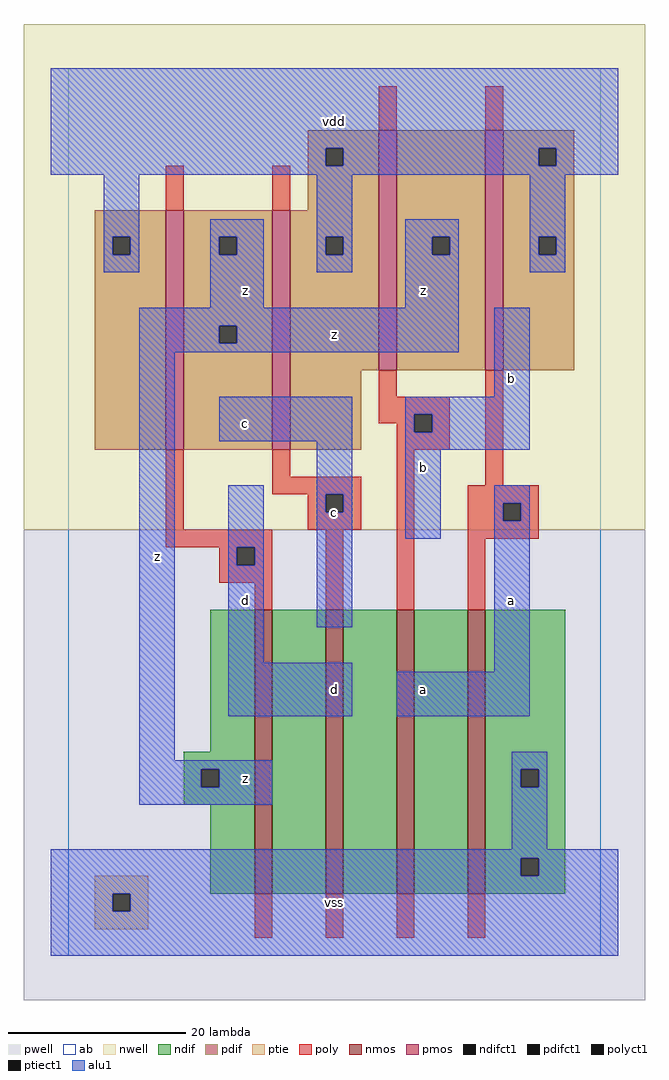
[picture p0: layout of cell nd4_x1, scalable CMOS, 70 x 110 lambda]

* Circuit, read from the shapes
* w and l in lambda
.subckt nd4_x1 a b c d vdd vss z
M1 n1 d z vss nfet w=32 l=2
M2 n2 c n1 vss nfet w=32 l=2
M3 n3 b n2 vss nfet w=32 l=2
M4 vss a n3 vss nfet w=32 l=2
M5 z d vdd n4 pfet w=27 l=2
M6 vdd c z n4 pfet w=27 l=2
M7 z b vdd n4 pfet w=27 l=2
M8 vdd a z n4 pfet w=27 l=2
.ends

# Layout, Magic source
magic
tech scmos
<< ab >>
rect 0 0 60 100
<< nwell >>
rect -5 48 65 105
<< pwell >>
rect -5 -5 65 48
<< poly >>
rect 35 93 37 98
rect 47 93 49 98
rect 11 84 13 89
rect 23 84 25 89
rect 35 63 37 66
rect 35 61 43 63
rect 35 60 39 61
rect 37 59 39 60
rect 41 59 43 61
rect 37 57 43 59
rect 11 48 13 57
rect 23 54 25 57
rect 23 52 33 54
rect 27 50 29 52
rect 31 50 33 52
rect 27 48 33 50
rect 11 46 23 48
rect 17 44 19 46
rect 21 44 23 46
rect 17 42 23 44
rect 21 39 23 42
rect 29 39 31 48
rect 37 39 39 57
rect 47 53 49 66
rect 45 51 53 53
rect 45 49 49 51
rect 51 49 53 51
rect 45 47 53 49
rect 45 39 47 47
rect 21 2 23 7
rect 29 2 31 7
rect 37 2 39 7
rect 45 2 47 7
<< ndif >>
rect 16 23 21 39
rect 13 21 21 23
rect 13 19 15 21
rect 17 19 21 21
rect 13 17 21 19
rect 16 7 21 17
rect 23 7 29 39
rect 31 7 37 39
rect 39 7 45 39
rect 47 21 56 39
rect 47 19 51 21
rect 53 19 56 21
rect 47 11 56 19
rect 47 9 51 11
rect 53 9 56 11
rect 47 7 56 9
<< pdif >>
rect 27 91 35 93
rect 27 89 29 91
rect 31 89 35 91
rect 27 84 35 89
rect 3 81 11 84
rect 3 79 5 81
rect 7 79 11 81
rect 3 57 11 79
rect 13 81 23 84
rect 13 79 17 81
rect 19 79 23 81
rect 13 71 23 79
rect 13 69 17 71
rect 19 69 23 71
rect 13 57 23 69
rect 25 81 35 84
rect 25 79 29 81
rect 31 79 35 81
rect 25 66 35 79
rect 37 81 47 93
rect 37 79 41 81
rect 43 79 47 81
rect 37 66 47 79
rect 49 91 57 93
rect 49 89 53 91
rect 55 89 57 91
rect 49 81 57 89
rect 49 79 53 81
rect 55 79 57 81
rect 49 66 57 79
rect 25 57 33 66
<< alu1 >>
rect -2 91 62 100
rect -2 89 29 91
rect 31 89 53 91
rect 55 89 62 91
rect -2 88 62 89
rect 4 81 8 88
rect 4 79 5 81
rect 7 79 8 81
rect 4 77 8 79
rect 16 81 22 83
rect 16 79 17 81
rect 19 79 22 81
rect 16 73 22 79
rect 28 81 32 88
rect 28 79 29 81
rect 31 79 32 81
rect 28 77 32 79
rect 38 81 44 83
rect 38 79 41 81
rect 43 79 44 81
rect 38 73 44 79
rect 52 81 56 88
rect 52 79 53 81
rect 55 79 56 81
rect 52 77 56 79
rect 8 71 44 73
rect 8 69 17 71
rect 19 69 44 71
rect 8 68 44 69
rect 8 22 12 68
rect 48 63 52 73
rect 17 58 32 63
rect 18 46 22 53
rect 18 44 19 46
rect 21 44 22 46
rect 18 33 22 44
rect 28 52 32 58
rect 28 50 29 52
rect 31 50 32 52
rect 28 37 32 50
rect 38 61 52 63
rect 38 59 39 61
rect 41 59 52 61
rect 38 57 52 59
rect 38 47 42 57
rect 48 51 52 53
rect 48 49 49 51
rect 51 49 52 51
rect 18 27 32 33
rect 48 32 52 49
rect 37 27 52 32
rect 8 21 23 22
rect 8 19 15 21
rect 17 19 23 21
rect 8 17 23 19
rect 50 21 54 23
rect 50 19 51 21
rect 53 19 54 21
rect 50 12 54 19
rect -2 11 62 12
rect -2 9 51 11
rect 53 9 62 11
rect -2 7 62 9
rect -2 5 5 7
rect 7 5 62 7
rect -2 0 62 5
<< ptie >>
rect 3 7 9 9
rect 3 5 5 7
rect 7 5 9 7
rect 3 3 9 5
<< nmos >>
rect 21 7 23 39
rect 29 7 31 39
rect 37 7 39 39
rect 45 7 47 39
<< pmos >>
rect 11 57 13 84
rect 23 57 25 84
rect 35 66 37 93
rect 47 66 49 93
<< polyct1 >>
rect 39 59 41 61
rect 29 50 31 52
rect 19 44 21 46
rect 49 49 51 51
<< ndifct1 >>
rect 15 19 17 21
rect 51 19 53 21
rect 51 9 53 11
<< ptiect1 >>
rect 5 5 7 7
<< pdifct1 >>
rect 29 89 31 91
rect 5 79 7 81
rect 17 79 19 81
rect 17 69 19 71
rect 29 79 31 81
rect 41 79 43 81
rect 53 89 55 91
rect 53 79 55 81
<< labels >>
rlabel alu1 10 45 10 45 6 z
rlabel alu1 20 20 20 20 6 z
rlabel alu1 20 40 20 40 6 d
rlabel alu1 20 60 20 60 6 c
rlabel alu1 20 75 20 75 6 z
rlabel alu1 30 6 30 6 6 vss
rlabel alu1 30 30 30 30 6 d
rlabel alu1 40 30 40 30 6 a
rlabel alu1 30 50 30 50 6 c
rlabel alu1 30 70 30 70 6 z
rlabel alu1 40 55 40 55 6 b
rlabel alu1 40 75 40 75 6 z
rlabel alu1 30 94 30 94 6 vdd
rlabel alu1 50 40 50 40 6 a
rlabel alu1 50 65 50 65 6 b
<< end >>
